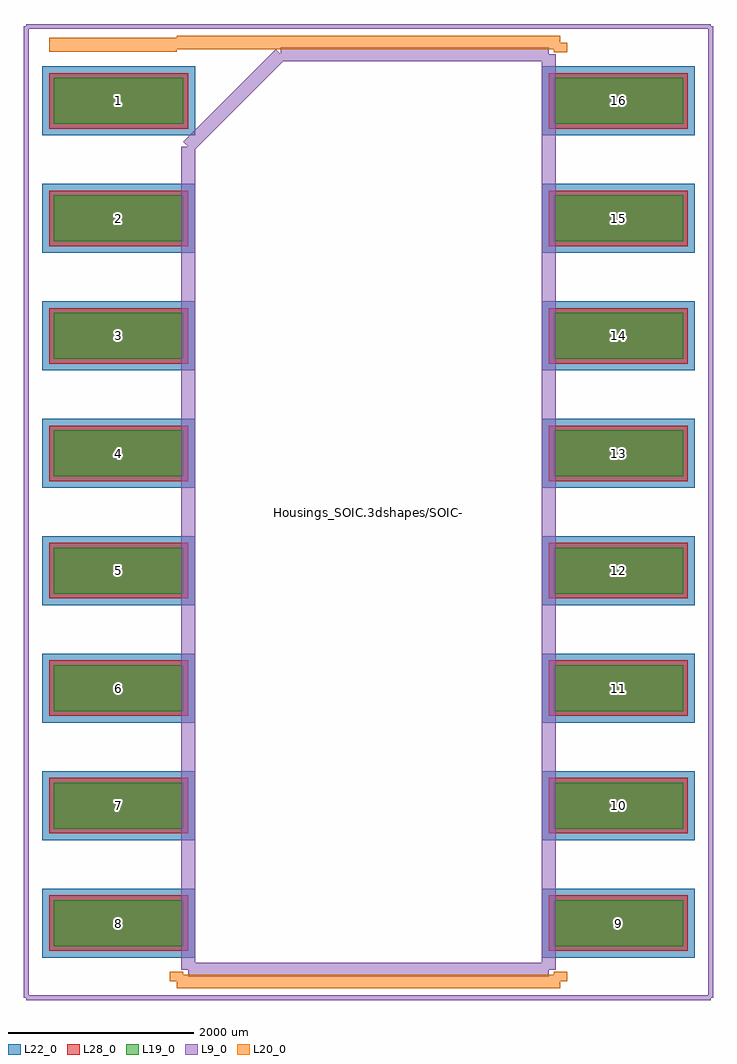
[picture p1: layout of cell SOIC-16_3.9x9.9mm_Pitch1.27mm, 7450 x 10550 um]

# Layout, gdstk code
import gdstk
lib = gdstk.Library(unit=1e-6, precision=1e-09)
def R(c, l, rs):  # rectangles x0, y0, x1, y1
    for r in rs: c.add(gdstk.rectangle(r[:2], r[2:], *l))
def A(c, l, x, y, w, h, nx, ny, dx, dy):  # array of equal rectangles
    R(c, l, [(x+i*dx, y+j*dy, x+i*dx+w, y+j*dy+h) for i in range(nx) for j in range(ny)])
L9_0 = (9, 0)
L19_0 = (19, 0)
L20_0 = (20, 0)
L22_0 = (22, 0)
L28_0 = (28, 0)

soic_16_3_9x9_9mm_pitch1 = lib.new_cell('SOIC-16_3.9x9.9mm_Pitch1.27mm')
A(soic_16_3_9x9_9mm_pitch1, L19_0, -3400, -4695, 1400, 500, 1, 8, 0, 1270)
A(soic_16_3_9x9_9mm_pitch1, L19_0, 2000, -4695, 1400, 500, 1, 8, 0, 1270)
A(soic_16_3_9x9_9mm_pitch1, L22_0, -3525, -4820, 1650, 750, 1, 8, 0, 1270)
A(soic_16_3_9x9_9mm_pitch1, L22_0, 1875, -4820, 1650, 750, 1, 8, 0, 1270)
A(soic_16_3_9x9_9mm_pitch1, L28_0, -3450, -4745, 1500, 600, 1, 8, 0, 1270)
A(soic_16_3_9x9_9mm_pitch1, L28_0, 1950, -4745, 1500, 600, 1, 8, 0, 1270)
soic_16_3_9x9_9mm_pitch1.add(gdstk.FlexPath([(-2075,5050),(-3450,5050)], 149.998, ends="flush", simple_path=True, layer=20, datatype=0))  # L20_0
soic_16_3_9x9_9mm_pitch1.add(gdstk.FlexPath([(-2075,-5075),(2075,-5075)], 149.998, ends="flush", simple_path=True, layer=20, datatype=0))  # L20_0
soic_16_3_9x9_9mm_pitch1.add(gdstk.FlexPath([(-2075,5075),(2075,5075)], 149.998, ends="flush", simple_path=True, layer=20, datatype=0))  # L20_0
soic_16_3_9x9_9mm_pitch1.add(gdstk.FlexPath([(-2075,-5075),(-2075,-4970)], 149.998, ends="flush", simple_path=True, layer=20, datatype=0))  # L20_0
soic_16_3_9x9_9mm_pitch1.add(gdstk.FlexPath([(2075,-5075),(2075,-4970)], 149.998, ends="flush", simple_path=True, layer=20, datatype=0))  # L20_0
soic_16_3_9x9_9mm_pitch1.add(gdstk.FlexPath([(2075,5075),(2075,4970)], 149.998, ends="flush", simple_path=True, layer=20, datatype=0))  # L20_0
soic_16_3_9x9_9mm_pitch1.add(gdstk.FlexPath([(-2075,5075),(-2075,5050)], 149.998, ends="flush", simple_path=True, layer=20, datatype=0))  # L20_0
soic_16_3_9x9_9mm_pitch1.add(gdstk.FlexPath([(-3700,-5250),(3700,-5250)], 50, ends="flush", simple_path=True, layer=9, datatype=0))  # L9_0
soic_16_3_9x9_9mm_pitch1.add(gdstk.FlexPath([(-3700,5250),(3700,5250)], 50, ends="flush", simple_path=True, layer=9, datatype=0))  # L9_0
soic_16_3_9x9_9mm_pitch1.add(gdstk.FlexPath([(3700,5250),(3700,-5250)], 50, ends="flush", simple_path=True, layer=9, datatype=0))  # L9_0
soic_16_3_9x9_9mm_pitch1.add(gdstk.FlexPath([(-3700,5250),(-3700,-5250)], 50, ends="flush", simple_path=True, layer=9, datatype=0))  # L9_0
soic_16_3_9x9_9mm_pitch1.add(gdstk.FlexPath([(-1950,3950),(-950,4950)], 149.998, ends="flush", simple_path=True, layer=9, datatype=0))  # L9_0
soic_16_3_9x9_9mm_pitch1.add(gdstk.FlexPath([(-1950,-4950),(-1950,3950)], 149.998, ends="flush", simple_path=True, layer=9, datatype=0))  # L9_0
soic_16_3_9x9_9mm_pitch1.add(gdstk.FlexPath([(1950,-4950),(-1950,-4950)], 149.998, ends="flush", simple_path=True, layer=9, datatype=0))  # L9_0
soic_16_3_9x9_9mm_pitch1.add(gdstk.FlexPath([(1950,4950),(1950,-4950)], 149.998, ends="flush", simple_path=True, layer=9, datatype=0))  # L9_0
soic_16_3_9x9_9mm_pitch1.add(gdstk.FlexPath([(-950,4950),(1950,4950)], 149.998, ends="flush", simple_path=True, layer=9, datatype=0))  # L9_0
soic_16_3_9x9_9mm_pitch1.add(gdstk.Label('Housings_SOIC.3dshapes/SOIC-16_3.9x9.9mm_Pitch1.27mm.wrl', (0,0), layer=12, texttype=0))
soic_16_3_9x9_9mm_pitch1.add(gdstk.Label('16', (2700,4445), layer=28, texttype=0))
soic_16_3_9x9_9mm_pitch1.add(gdstk.Label('15', (2700,3175), layer=28, texttype=0))
soic_16_3_9x9_9mm_pitch1.add(gdstk.Label('14', (2700,1905), layer=28, texttype=0))
soic_16_3_9x9_9mm_pitch1.add(gdstk.Label('13', (2700,635), layer=28, texttype=0))
soic_16_3_9x9_9mm_pitch1.add(gdstk.Label('12', (2700,-635), layer=28, texttype=0))
soic_16_3_9x9_9mm_pitch1.add(gdstk.Label('11', (2700,-1905), layer=28, texttype=0))
soic_16_3_9x9_9mm_pitch1.add(gdstk.Label('10', (2700,-3175), layer=28, texttype=0))
soic_16_3_9x9_9mm_pitch1.add(gdstk.Label('9', (2700,-4445), layer=28, texttype=0))
soic_16_3_9x9_9mm_pitch1.add(gdstk.Label('8', (-2700,-4445), layer=28, texttype=0))
soic_16_3_9x9_9mm_pitch1.add(gdstk.Label('7', (-2700,-3175), layer=28, texttype=0))
soic_16_3_9x9_9mm_pitch1.add(gdstk.Label('6', (-2700,-1905), layer=28, texttype=0))
soic_16_3_9x9_9mm_pitch1.add(gdstk.Label('5', (-2700,-635), layer=28, texttype=0))
soic_16_3_9x9_9mm_pitch1.add(gdstk.Label('4', (-2700,635), layer=28, texttype=0))
soic_16_3_9x9_9mm_pitch1.add(gdstk.Label('3', (-2700,1905), layer=28, texttype=0))
soic_16_3_9x9_9mm_pitch1.add(gdstk.Label('2', (-2700,3175), layer=28, texttype=0))
soic_16_3_9x9_9mm_pitch1.add(gdstk.Label('1', (-2700,4445), layer=28, texttype=0))
soic_16_3_9x9_9mm_pitch1.add(gdstk.Label('type', (0,-6000), layer=9, texttype=0))
soic_16_3_9x9_9mm_pitch1.add(gdstk.Label('devicename', (0,6000), layer=9, texttype=0))

lib.write_gds('SOIC-16_3.9x9.9mm_Pitch1.27mm.gds')
